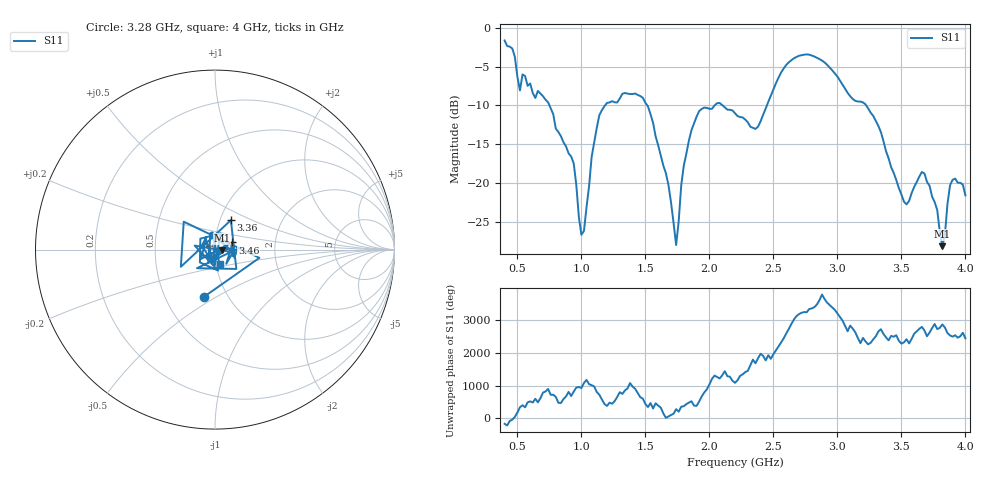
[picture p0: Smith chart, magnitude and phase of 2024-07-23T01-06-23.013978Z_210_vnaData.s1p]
!Created with skrf (http://scikit-rf.org).
# Hz S RI R 50.0
!freq ReS11 ImS11
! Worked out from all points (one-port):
!   181 points, 400 MHz to 4 GHz, reference 50 ohm
!   lowest |S11| = -28.1 dB at 3.82 GHz (marker M1), VSWR 1.08, Z = 54.1 - j0.447 ohm
!   |S11| at or under -10 dB: 750.2 MHz to 1.185 GHz (434.5 MHz wide, 44.9 % of centre); 1.515 GHz to 2.041 GHz (526.2 MHz wide, 29.6 % of centre); 3.225 GHz to end of sweep (the widest 3 of 4)
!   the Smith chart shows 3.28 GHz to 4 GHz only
!   S11 on the Smith chart (normalised r, x): 3.28 GHz: 0.77, -0.44; 3.36 GHz: 1.13, +0.38; 3.46 GHz: 1.21, +0.10; 4 GHz: 1.04, -0.17
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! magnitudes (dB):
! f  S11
! 400 MHz  -1.6
! 480 MHz  -3.7
! 520 MHz  -8.1
! 540 MHz  -6.0
! 740 MHz  -9.6
! 860 MHz  -14.7
! 940 MHz  -17.5
! 1 GHz  -26.6
! 1.14 GHz  -11.3
! 1.3 GHz  -9.1
! 1.52 GHz  -10.1
! 1.68 GHz  -20.2
! 1.74 GHz  -27.9
! 1.76 GHz  -24.9
! 1.8 GHz  -17.7
! 1.92 GHz  -10.7
! 2.2 GHz  -11.0
! 2.38 GHz  -12.7
! 2.66 GHz  -3.9
! 3.1 GHz  -8.8
! 3.28 GHz  -11.3
! 3.36 GHz  -14.6
! 3.46 GHz  -19.6
! 3.56 GHz  -22.3
! 3.68 GHz  -18.7
! 3.82 GHz  -28.1
! 3.88 GHz  -20.3
! 4 GHz  -21.6
